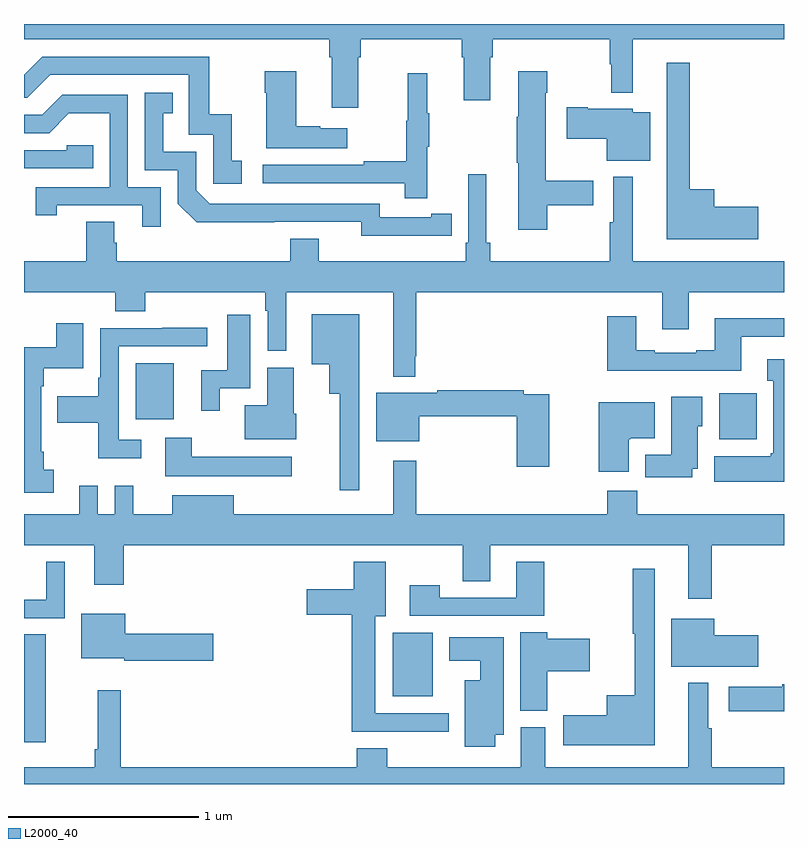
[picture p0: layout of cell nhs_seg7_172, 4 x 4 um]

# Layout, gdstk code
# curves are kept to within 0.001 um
import gdstk
lib = gdstk.Library(unit=1e-6, precision=1e-09)
def R(c, l, rs):  # rectangles x0, y0, x1, y1
    for r in rs: c.add(gdstk.rectangle(r[:2], r[2:], *l))
def P(c, l, *ps):  # polygons
    for p in ps: c.add(gdstk.Polygon(p, *l))
L2000_40 = (2000, 40)

nhs_seg7_172 = lib.new_cell('nhs_seg7_172')
R(nhs_seg7_172, L2000_40, [(123,1026.219,123.115,1026.788), (124.94,1026.461,125.152,1026.796), (126.659,1027.814,126.856,1028.056), (123.587,1027.919,123.787,1028.215)])
P(nhs_seg7_172, L2000_40, [(124.759,1029.824),(124.772,1029.824),(124.772,1029.92),(125.303,1029.92),(125.303,1029.824),(125.315,1029.824),(125.315,1029.6),(125.455,1029.6),(125.455,1029.824),(125.468,1029.824),(125.468,1029.92),(126.084,1029.92),(126.084,1029.788),(126.091,1029.788),(126.091,1029.639),(126.205,1029.639),(126.205,1029.92),(127,1029.92),(127,1030),(123,1030),(123,1029.92),(124.607,1029.92),(124.607,1029.824),(124.619,1029.824),(124.619,1029.558),(124.759,1029.558)],
  [(124.147,1029.279),(124.094,1029.279),(124.094,1029.526),(123.976,1029.526),(123.976,1029.828),(123.096,1029.828),(123,1029.732),(123,1029.612),(123.018,1029.612),(123.138,1029.732),(123.867,1029.732),(123.867,1029.417),(123.996,1029.417),(123.996,1029.159),(124.147,1029.159)],
  [(126.865,1029.038),(126.634,1029.038),(126.634,1029.13),(126.505,1029.13),(126.505,1029.796),(126.383,1029.796),(126.383,1028.867),(126.865,1028.867)],
  [(125.754,1029.046),(125.995,1029.046),(125.995,1029.175),(125.746,1029.175),(125.746,1029.638),(125.754,1029.638),(125.754,1029.751),(125.6,1029.751),(125.6,1029.512),(125.593,1029.512),(125.593,1029.271),(125.6,1029.271),(125.6,1028.916),(125.754,1028.916)],
  [(124.702,1029.451),(124.559,1029.451),(124.559,1029.461),(124.432,1029.461),(124.432,1029.751),(124.267,1029.751),(124.267,1029.638),(124.274,1029.638),(124.274,1029.347),(124.702,1029.347)],
  [(125.123,1029.355),(125.134,1029.355),(125.134,1029.529),(125.123,1029.529),(125.123,1029.742),(125.02,1029.742),(125.02,1029.492),(125.013,1029.492),(125.013,1029.278),(124.789,1029.278),(124.789,1029.258),(124.257,1029.258),(124.257,1029.162),(125.005,1029.162),(125.005,1029.084),(125.123,1029.084)],
  [(125.144,1028.886),(125.252,1028.886),(125.252,1029.002),(125.144,1029.002),(125.144,1028.982),(124.872,1028.982),(124.872,1029.054),(123.978,1029.054),(123.906,1029.126),(123.906,1029.327),(123.733,1029.327),(123.733,1029.531),(123.782,1029.531),(123.782,1029.637),(123.636,1029.637),(123.636,1029.231),(123.81,1029.231),(123.81,1029.054),(123.908,1028.957),(124.776,1028.958),(124.776,1028.885)],
  [(123.72,1029.141),(123.546,1029.141),(123.546,1029.627),(123.2,1029.627),(123.095,1029.522),(123,1029.522),(123,1029.426),(123.132,1029.426),(123.236,1029.53),(123.45,1029.53),(123.45,1029.141),(123.061,1029.141),(123.061,1028.994),(123.172,1028.994),(123.172,1029.045),(123.623,1029.045),(123.623,1028.934),(123.72,1028.934)],
  [(126.295,1029.535),(126.204,1029.535),(126.204,1029.553),(125.968,1029.553),(125.968,1029.561),(125.856,1029.561),(125.856,1029.395),(126.068,1029.395),(126.068,1029.281),(126.295,1029.281)],
  [(123.365,1029.363),(123.225,1029.363),(123.225,1029.336),(123,1029.336),(123,1029.24),(123.365,1029.24)],
  [(125.058,1028.251),(125.065,1028.251),(125.065,1028.588),(126.359,1028.588),(126.359,1028.394),(126.499,1028.394),(126.499,1028.588),(127,1028.588),(127,1028.752),(126.205,1028.752),(126.205,1029.196),(126.101,1029.196),(126.101,1028.957),(126.084,1028.957),(126.084,1028.752),(125.453,1028.752),(125.453,1028.848),(125.434,1028.848),(125.434,1029.208),(125.337,1029.208),(125.337,1028.848),(125.324,1028.848),(125.324,1028.752),(124.552,1028.752),(124.552,1028.869),(124.4,1028.869),(124.4,1028.752),(123.488,1028.752),(123.488,1028.85),(123.475,1028.85),(123.475,1028.96),(123.328,1028.96),(123.328,1028.752),(123,1028.752),(123,1028.588),(123.479,1028.588),(123.479,1028.489),(123.639,1028.489),(123.639,1028.588),(124.269,1028.588),(124.269,1028.492),(124.284,1028.492),(124.284,1028.28),(124.381,1028.28),(124.381,1028.588),(124.943,1028.588),(124.943,1028.144),(125.058,1028.144)],
  [(124.765,1028.473),(124.514,1028.473),(124.514,1028.21),(124.607,1028.21),(124.607,1028.054),(124.661,1028.054),(124.661,1027.545),(124.765,1027.545)],
  [(124.03,1028.082),(124.192,1028.082),(124.192,1028.357),(124.191,1028.357),(124.191,1028.47),(124.07,1028.47),(124.07,1028.178),(123.932,1028.178),(123.932,1027.965),(124.03,1027.965)],
  [(126.775,1028.355),(127,1028.355),(127,1028.452),(126.635,1028.452),(126.635,1028.284),(126.539,1028.284),(126.539,1028.271),(126.319,1028.271),(126.319,1028.284),(126.223,1028.284),(126.223,1028.461),(126.071,1028.461),(126.071,1028.174),(126.775,1028.174)],
  [(123.157,1027.654),(123.103,1027.654),(123.103,1027.75),(123.09,1027.75),(123.09,1028.093),(123.103,1028.093),(123.103,1028.189),(123.313,1028.189),(123.313,1028.425),(123.17,1028.425),(123.17,1028.299),(123,1028.299),(123,1027.532),(123.157,1027.532)],
  [(123.616,1027.812),(123.498,1027.812),(123.498,1028.304),(123.964,1028.304),(123.964,1028.402),(123.727,1028.402),(123.727,1028.4),(123.402,1028.4),(123.402,1028.137),(123.39,1028.137),(123.39,1028.041),(123.175,1028.041),(123.175,1027.901),(123.39,1027.901),(123.39,1027.715),(123.616,1027.715)],
  [(127,1028.236),(126.911,1028.236),(126.911,1028.123),(126.944,1028.123),(126.944,1027.74),(126.931,1027.74),(126.931,1027.726),(126.632,1027.726),(126.632,1027.592),(127,1027.592)],
  [(124.432,1027.95),(124.42,1027.95),(124.42,1028.191),(124.28,1028.191),(124.28,1027.993),(124.163,1027.993),(124.163,1027.814),(124.432,1027.814)],
  [(125.764,1028.052),(125.63,1028.052),(125.63,1028.072),(125.176,1028.072),(125.176,1028.059),(124.853,1028.059),(124.853,1027.805),(125.08,1027.805),(125.08,1027.936),(125.594,1027.936),(125.594,1027.671),(125.764,1027.671)],
  [(126.517,1027.658),(126.547,1027.658),(126.547,1027.884),(126.571,1027.884),(126.571,1028.038),(126.407,1028.038),(126.407,1027.732),(126.269,1027.732),(126.269,1027.614),(126.517,1027.614)],
  [(126.184,1027.814),(126.19,1027.814),(126.19,1027.82),(126.319,1027.82),(126.319,1028.008),(126.026,1028.008),(126.026,1027.644),(126.184,1027.644)],
  [(124.408,1027.723),(123.883,1027.723),(123.883,1027.822),(123.743,1027.822),(123.743,1027.619),(124.408,1027.619)],
  [(126.619,1027.256),(127,1027.256),(127,1027.42),(126.227,1027.42),(126.227,1027.544),(126.071,1027.544),(126.071,1027.42),(125.065,1027.42),(125.065,1027.702),(124.943,1027.702),(124.943,1027.42),(124.105,1027.42),(124.105,1027.519),(123.779,1027.519),(123.779,1027.42),(123.575,1027.42),(123.575,1027.57),(123.477,1027.57),(123.477,1027.42),(123.387,1027.42),(123.387,1027.57),(123.29,1027.57),(123.29,1027.42),(123,1027.42),(123,1027.256),(123.371,1027.256),(123.371,1027.05),(123.524,1027.05),(123.524,1027.256),(125.308,1027.256),(125.308,1027.066),(125.455,1027.066),(125.455,1027.256),(126.497,1027.256),(126.497,1026.975),(126.619,1026.975)],
  [(123.214,1027.171),(123.116,1027.171),(123.116,1026.969),(123,1026.969),(123,1026.873),(123.214,1026.873)],
  [(125.739,1027.171),(125.591,1027.171),(125.591,1026.981),(125.187,1026.981),(125.187,1027.045),(125.031,1027.045),(125.031,1026.885),(125.739,1026.885)],
  [(125.236,1026.372),(124.849,1026.372),(124.849,1026.884),(124.903,1026.884),(124.903,1027.171),(124.736,1027.171),(124.736,1027.024),(124.488,1027.024),(124.488,1026.89),(124.724,1026.89),(124.724,1026.275),(125.236,1026.275)],
  [(126.319,1027.132),(126.205,1027.132),(126.205,1026.791),(126.215,1026.791),(126.215,1026.466),(126.068,1026.466),(126.068,1026.361),(125.838,1026.361),(125.838,1026.203),(126.319,1026.203)],
  [(123.997,1026.792),(123.532,1026.792),(123.532,1026.895),(123.302,1026.895),(123.302,1026.662),(123.528,1026.662),(123.528,1026.65),(123.997,1026.65)],
  [(126.865,1026.783),(126.634,1026.783),(126.634,1026.871),(126.407,1026.871),(126.407,1026.617),(126.865,1026.617)],
  [(125.754,1026.593),(125.977,1026.593),(125.977,1026.764),(125.754,1026.764),(125.754,1026.8),(125.612,1026.8),(125.612,1026.385),(125.754,1026.385)],
  [(125.479,1026.26),(125.524,1026.26),(125.524,1026.772),(125.237,1026.772),(125.237,1026.65),(125.402,1026.65),(125.402,1026.547),(125.321,1026.547),(125.321,1026.195),(125.479,1026.195)],
  [(127,1026.088),(126.619,1026.088),(126.619,1026.293),(126.601,1026.293),(126.601,1026.532),(126.497,1026.532),(126.497,1026.088),(125.743,1026.088),(125.743,1026.3),(125.615,1026.3),(125.615,1026.088),(124.911,1026.088),(124.911,1026.187),(124.751,1026.187),(124.751,1026.088),(123.509,1026.088),(123.509,1026.493),(123.388,1026.493),(123.388,1026.184),(123.373,1026.184),(123.373,1026.088),(123,1026.088),(123,1026),(127,1026)],
  [(127,1026.524),(126.992,1026.524),(126.992,1026.511),(126.708,1026.511),(126.708,1026.382),(127,1026.382)])

lib.write_gds('nhs_seg7_172.gds')
